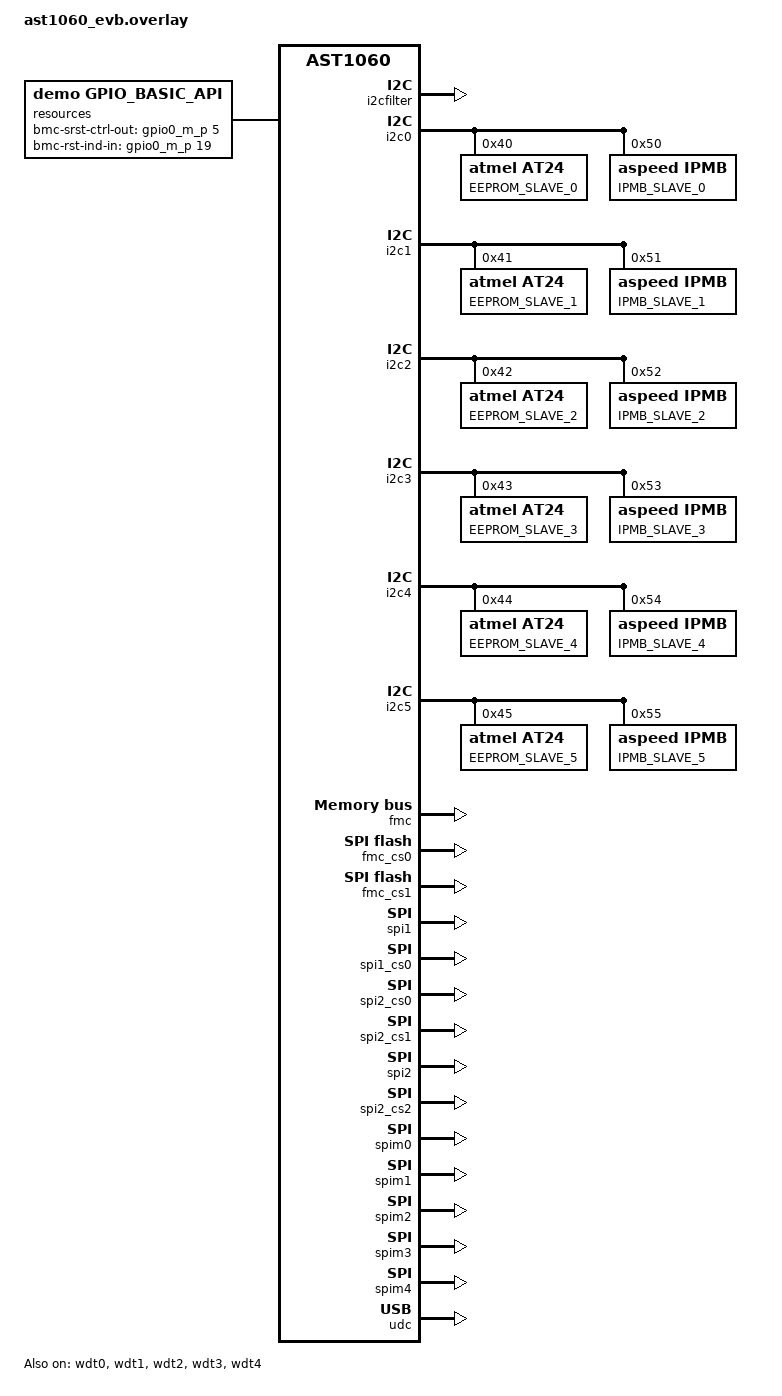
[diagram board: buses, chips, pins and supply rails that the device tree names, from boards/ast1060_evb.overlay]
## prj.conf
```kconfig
CONFIG_GPIO=y
CONFIG_SPI=y
CONFIG_I2C=y
CONFIG_THREAD_RUNTIME_STATS=y
CONFIG_GPIO_SHELL=y
CONFIG_I2C_SLAVE=y
CONFIG_I2C_EEPROM_SLAVE=y
CONFIG_FLASH=y
CONFIG_SPI_NOR_MULTI_DEV=y
CONFIG_FLASH_SHELL=y
CONFIG_HEAP_MEM_POOL_SIZE=16384
CONFIG_MINIMAL_LIBC_MALLOC_ARENA_SIZE=4096
CONFIG_REBOOT=y
CONFIG_POSIX_CLOCK=y
CONFIG_STACK_SENTINEL=y
CONFIG_LOG=y
CONFIG_SHELL=y
CONFIG_SHELL_BACKEND_SERIAL_INIT_PRIORITY=99
CONFIG_PFR_FLOW_CTRL_AST1060=y
CONFIG_CRYPTO=y
CONFIG_CRYPTO_ASPEED=y
CONFIG_RSA_ASPEED=y
CONFIG_ECDSA_ASPEED=y
CONFIG_MBEDTLS=y
CONFIG_MBEDTLS_KEY_EXCHANGE_ECDHE_ECDSA_ENABLED=y
CONFIG_MBEDTLS_ECP_DP_SECP384R1_ENABLED=y
CONFIG_MBEDTLS_ENABLE_HEAP=y
CONFIG_MBEDTLS_HEAP_SIZE=16384
CONFIG_SHELL_STACK_SIZE=4096
CONFIG_ENTROPY_GENERATOR=y
CONFIG_ENTROPY_ASPEED_TRNG=y
```

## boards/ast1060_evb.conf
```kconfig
CONFIG_GPIO_ASPEED=y
CONFIG_SPI_ASPEED=y
CONFIG_SPI_MONITOR_ASPEED=y
CONFIG_SPI_MONITOR_SHELL_ASPEED=y
CONFIG_SPI_NOR_ADDR_MODE_FALLBACK_DISABLED=y
CONFIG_PFR_SHELL_ASPEED=y
CONFIG_I2C_ASPEED=y
CONFIG_I2C_PFR=y
CONFIG_I2C_PFR_INIT_PRIORITY=60
CONFIG_I2C_PFR_FILTER=y
CONFIG_SHELL_ARGC_MAX=70
CONFIG_WATCHDOG=y
CONFIG_WDT_ASPEED=y
CONFIG_ABR_FLOW_CTRL_ASPEED=y
CONFIG_USB=y
CONFIG_USB_ASPEED=y
CONFIG_USB_DEVICE_VID=0x4153
CONFIG_USB_DEVICE_PID=0x1030
CONFIG_USB_DEVICE_DFU_PID=0x1030
CONFIG_USB_CDC_ACM=y
CONFIG_SHELL_CMDS_USB=y
CONFIG_USB_COMPOSITE_DEVICE=y
CONFIG_USB_DEVICE_PRODUCT="Zephyr DFU sample"
CONFIG_USB_DFU_CLASS=y
CONFIG_USB_REQUEST_BUFFER_SIZE=4096
CONFIG_USB_DFU_DEFAULT_POLLTIMEOUT=40
CONFIG_FLASH=y
CONFIG_IMG_MANAGER=y
CONFIG_FLASH_PAGE_LAYOUT=y
CONFIG_IMG_BLOCK_BUF_SIZE=4096
CONFIG_IMG_ERASE_PROGRESSIVELY=y
CONFIG_STREAM_FLASH_ERASE=y
CONFIG_OTP_ASPEED=y
CONFIG_SHELL_CMDS_OTP=y
CONFIG_SHELL_STACK_SIZE=10240
CONFIG_HASH_SHELL=y
CONFIG_CRYPTO_SHELL=y
CONFIG_RSA_SHELL=y
CONFIG_ECDSA_SHELL=y
CONFIG_MBEDTLS_MAC_SHA256_ENABLED=y
CONFIG_MBEDTLS_MAC_SHA512_ENABLED=y
```

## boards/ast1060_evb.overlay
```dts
/ {
	resources {
		compatible = "demo,gpio_basic_api";
		bmc-srst-ctrl-out-gpios = <&gpio0_m_p 5 0>; /* GPIOM5 */
		bmc-rst-ind-in-gpios = <&gpio0_m_p 19 0>; /* GPIO_O3 */
	};
};

&i2cfilter {
	pinctrl-0 = <&pinctrl_smbflt_default>;
	status = "okay";
};

&i2c0 {
	status = "okay";
	pinctrl-0 = <&pinctrl_i2c0_default>;

	eeprom0: eeprom0@40 {
		compatible = "atmel,at24";
		reg = <0x40>;
		label = "EEPROM_SLAVE_0";
		size = <256>;
		pagesize = <16>;
		address-width = <8>;
		timeout = <5>;
#ifdef CONFIG_I2C_EEPROM_SLAVE
		status = "okay";
#endif
	};

	ipmb0: ipmb0@50 {
		compatible = "aspeed,ipmb";
		reg = <0x50>;
		label = "IPMB_SLAVE_0";
		size = <5>;
#ifdef CONFIG_I2C_IPMB_SLAVE
		status = "okay";
#endif
	};

};

&i2c1 {
	pinctrl-0 = <&pinctrl_i2c1_default>;
	status = "okay";

	eeprom1: eeprom1@41 {
		compatible = "atmel,at24";
		reg = <0x41>;
		label = "EEPROM_SLAVE_1";
		size = <256>;
		pagesize = <16>;
		address-width = <8>;
		timeout = <5>;
#ifdef CONFIG_I2C_EEPROM_SLAVE
		status = "okay";
#endif
	};

	ipmb1: ipmb1@51 {
		compatible = "aspeed,ipmb";
		reg = <0x51>;
		label = "IPMB_SLAVE_1";
		size = <5>;
#ifdef CONFIG_I2C_IPMB_SLAVE
		status = "okay";
#endif
	};

};

&i2c2 {
	pinctrl-0 = <&pinctrl_i2c2_default>;
	status = "okay";

	eeprom2: eeprom2@42 {
		compatible = "atmel,at24";
		reg = <0x42>;
		label = "EEPROM_SLAVE_2";
		size = <256>;
		pagesize = <16>;
		address-width = <8>;
		timeout = <5>;
#ifdef CONFIG_I2C_EEPROM_SLAVE
		status = "okay";
#endif
	};

	ipmb2: ipmb2@52 {
		compatible = "aspeed,ipmb";
		reg = <0x52>;
		label = "IPMB_SLAVE_2";
		size = <5>;
#ifdef CONFIG_I2C_IPMB_SLAVE
		status = "okay";
#endif
	};

};

&i2c3 {
	pinctrl-0 = <&pinctrl_i2c3_default>;
	status = "okay";

	eeprom3: eeprom3@43 {
		compatible = "atmel,at24";
		reg = <0x43>;
		label = "EEPROM_SLAVE_3";
		size = <256>;
		pagesize = <16>;
		address-width = <8>;
		timeout = <5>;
#ifdef CONFIG_I2C_EEPROM_SLAVE
		status = "okay";
#endif
	};

	ipmb3: ipmb3@53 {
		compatible = "aspeed,ipmb";
		reg = <0x53>;
		label = "IPMB_SLAVE_3";
		size = <5>;
#ifdef CONFIG_I2C_IPMB_SLAVE
		status = "okay";
#endif
	};

};

&i2c4 {
	pinctrl-0 = <&pinctrl_i2c4_default>;
	status = "okay";

	eeprom4: eeprom4@44 {
		compatible = "atmel,at24";
		reg = <0x44>;
		label = "EEPROM_SLAVE_4";
		size = <256>;
		pagesize = <16>;
		address-width = <8>;
		timeout = <5>;
#ifdef CONFIG_I2C_EEPROM_SLAVE
		status = "okay";
#endif
	};

	ipmb4: ipmb4@54 {
		compatible = "aspeed,ipmb";
		reg = <0x54>;
		label = "IPMB_SLAVE_4";
		size = <5>;
#ifdef CONFIG_I2C_IPMB_SLAVE
		status = "okay";
#endif
	};

};

&i2c5 {
	pinctrl-0 = <&pinctrl_i2c5_default>;
	status = "okay";

	eeprom5: eeprom5@45 {
		compatible = "atmel,at24";
		reg = <0x45>;
		label = "EEPROM_SLAVE_5";
		size = <256>;
		pagesize = <16>;
		address-width = <8>;
		timeout = <5>;
#ifdef CONFIG_I2C_EEPROM_SLAVE
		status = "okay";
#endif
	};

	ipmb5: ipmb5@55 {
		compatible = "aspeed,ipmb";
		reg = <0x55>;
		label = "IPMB_SLAVE_5";
		size = <5>;
#ifdef CONFIG_I2C_IPMB_SLAVE
		status = "okay";
#endif
	};

};

&wdt0 {
	status = "okay";
};

&wdt1 {
	status = "okay";
};

&wdt2 {
	status = "okay";
};

&wdt3 {
	status = "okay";
};

&wdt4 {
	status = "okay";
};

&fmc {
	status = "okay";
};

&fmc_cs0 {
	status = "okay";
	spi-max-buswidth = <4>;
	spi-max-frequency = <50000000>;

	partitions {
		compatible = "fixed-partitions";
		#address-cells = <1>;
		#size-cells = <1>;
		boot_partition: partition@0 {
			label = "image-0";
			reg = <0x0 0x80000>;
		};
		dfu_partition: partition@1 {
		       label = "image-1";
		       reg = <0x80000 0x80000>;
	       };
	};
};

&fmc_cs1 {
	status = "okay";
	spi-max-buswidth = <4>;
	spi-max-frequency = <50000000>;
};

&spi1 {
	num-cs = <1>;
	status = "okay";
};

&spi1_cs0 {
	spi-max-buswidth = <4>;
	spi-max-frequency = <50000000>;
	status = "okay";
};

/* Use AST1060 SPI2 as the internal SPI master to
 * to access the SPI flashes connected to SPI monitors
 * Here,
 * "SPI2_CS0" used to access flash connected to SPI_Monitor_2,
 * "SPI2_CS1" is used to access flash connected to SPI_Monitor_3,
 * "SPI2_CS2" is used to access flash connected to SPI_Monitor_4,
 */

&spi2_cs0 {
	spi-max-buswidth = <4>;
	spi-max-frequency = <50000000>;
	status = "okay";
};

&spi2_cs1 {
	spi-max-buswidth = <4>;
	spi-max-frequency = <50000000>;
	status = "okay";
};

&spi2 {
	internal-mux-master = <2>;
	spi-monitor-output-base = <2>;
	spi-monitor-common-ctrl = <&spim0>;
	pinctrl-0 = <>;

	num-cs = <3>;
	status = "okay";
};

&spi2_cs2 {
	spi-max-buswidth = <4>;
	spi-max-frequency = <50000000>;
	status = "okay";
};

&spim0 {
	status = "okay";
};

&spim1 {
	allow-cmds = [03 13 0b 0c 6b 6c 01 05 35 06 04 20 21 9f 5a b7 e9 32 34 d8 dc 02 12 3b 3c 70 50];
	log-ram-size = <0x200>;
	pinctrl-0 = <&pinctrl_spim1_cs &pinctrl_spim1_in_default &pinctrl_spim1_qspi_in_default
				&pinctrl_spim1_rst_out &pinctrl_spim1_muxsel>;

	flash-device = <&spi1_cs0>;
	status = "okay";
};

&spim2 {
	allow-cmds = [03 13 0b 0c 6b 6c 01 05 35 06 04 20 21 9f 5a b7 e9 32 34 d8 dc 02 12 3b 3c 70 50];
	log-ram-size = <0x200>;
	pinctrl-0 = <&pinctrl_spim2_cs &pinctrl_spim2_in_default &pinctrl_spim2_out_default
				&pinctrl_spim2_qspi_in_default &pinctrl_spim2_qspi_out_default
				&pinctrl_spim2_rst_out>;

	flash-device = <&spi2_cs0>;
	status = "okay";
};

&spim3 {
	allow-cmds = [03 13 0b 0c 6b 6c 01 05 35 06 04 20 21 9f 5a b7 e9 32 34 d8 dc 02 12 3b 3c 70 50];
	log-ram-size = <0x200>;
	pinctrl-0 = <&pinctrl_spim3_cs &pinctrl_spim3_in_default &pinctrl_spim3_out_default
				&pinctrl_spim3_qspi_in_default &pinctrl_spim3_qspi_out_default
				&pinctrl_spim3_rst_out>;

	flash-device = <&spi2_cs1>;
	status = "okay";
};

&spim4 {
	allow-cmds = [03 13 0b 0c 6b 6c 01 05 35 06 04 20 21 9f 5a b7 e9 32 34 d8 dc 02 12 3b 3c 70 50];
	log-ram-size = <0x200>;
	/* for demo purpose */
	read-forbidden-regions = <
		0x00000000 0x10000
		0x00274000 0x4000
		0x01E00000 0x80000
	>;

	write-forbidden-regions = <
		0x00000000 0x10000
		0x013FC000 0x28000
		0x0FFF8000 0x8000
	>;

	pinctrl-0 = <&pinctrl_spim4_cs &pinctrl_spim4_in_default &pinctrl_spim4_out_default
				&pinctrl_spim4_qspi_in_default &pinctrl_spim4_qspi_out_default
				&pinctrl_spim4_rst_out>;

	flash-device = <&spi2_cs2>;
	status = "okay";
};

&udc {
	status = "okay";
};
```

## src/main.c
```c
/*
 * Copyright (c) 2021 ASPEED Technology Inc.
 *
 * SPDX-License-Identifier: Apache-2.0
 */

#include <zephyr.h>
#include <sys/printk.h>
#include <drivers/misc/aspeed/abr_aspeed.h>
#include <drivers/misc/aspeed/pfr_aspeed.h>
#include <soc.h>

extern struct k_work rst_work;

void demo_spim_irq_init(void);
void demo_wdt(void);
void ast1060_rst_demo_ext_mux(struct k_work *item);
void rst_gpio_event_register(void);
void ast1060_i2c_demo_flt(void);

void main(void)
{
	printk("%s demo\n", CONFIG_BOARD);
	aspeed_print_sysrst_info();
	disable_abr_wdt();

	/* reset BMC first */
	pfr_bmc_srst_enable_ctrl(true);

	demo_spim_irq_init();

	ast1060_rst_demo_ext_mux(NULL);

	rst_gpio_event_register();
	k_work_init(&rst_work, ast1060_rst_demo_ext_mux);

#if CONFIG_I2C_PFR_FILTER
	ast1060_i2c_demo_flt();
#endif
	/* the following demo part should be allocated
	 * at the final step of main function.
	 */
#if CONFIG_WDT_DEMO_ASPEED
	demo_wdt();
#endif
}
```

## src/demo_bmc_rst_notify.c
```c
/*
 * Copyright (c) 2021 ASPEED Technology Inc.
 *
 * SPDX-License-Identifier: Apache-2.0
 */

#include <zephyr.h>
#include <sys/printk.h>
#include <drivers/misc/aspeed/pfr_aspeed.h>
#include "demo_gpio.h"

static struct gpio_callback gpio_cb;
struct k_work rst_work;

static void gpioo3_callback(const struct device *dev,
		       struct gpio_callback *gpio_cb, uint32_t pins)
{
	/* reset BMC first */
	pfr_bmc_rst_enable_ctrl(true);

	k_work_submit(&rst_work);

	ARG_UNUSED(*gpio_cb);
	ARG_UNUSED(pins);
}

void rst_gpio_event_register(void)
{
	int ret;
	const struct device *gpio_dev = device_get_binding(BMC_RSTIND_GPIO_DEV_NAME);

	if (!gpio_dev) {
		printk("demo_err: cannot get device, %s.\n", gpio_dev->name);
		return;
	}

	ret = gpio_pin_interrupt_configure(gpio_dev, BMC_RSTIND_GPIO_PIN_IN,
					   GPIO_INT_DISABLE);
	if (ret != 0) {
		printk("demo_err: cannot configure GPIO INT(disabled).\n");
		return;
	}

	ret = gpio_pin_configure(gpio_dev, BMC_RSTIND_GPIO_PIN_IN, GPIO_INPUT);
	if (ret != 0) {
		printk("demo_err: cannot configure gpio device.\n");
		return;
	}

	gpio_init_callback(&gpio_cb, gpioo3_callback, BIT(BMC_RSTIND_GPIO_PIN_IN));
	ret = gpio_add_callback(gpio_dev, &gpio_cb);
	if (ret != 0) {
		printk("demo_err: cannot add gpio callback.\n");
		return;
	}

	ret = gpio_pin_interrupt_configure(gpio_dev, BMC_RSTIND_GPIO_PIN_IN,
					   GPIO_INT_EDGE_TO_INACTIVE);
	if (ret != 0) {
		printk("demo_err: cannot configure GPIO INT(1->0).\n");
		return;
	}
}
```

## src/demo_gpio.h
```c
/*
 * Copyright (c) 2021 ASPEED Technology Inc.
 *
 * SPDX-License-Identifier: Apache-2.0
 */

#ifndef __DEMO_GPIO_H__
#define __DEMO_GPIO_H__

#include <zephyr.h>
#include <drivers/gpio.h>
#include <sys/util.h>

#if DT_NODE_HAS_STATUS(DT_INST(0, demo_gpio_basic_api), okay)
#define BMC_RSTIND_GPIO_DEV_NAME \
			DT_GPIO_LABEL_BY_IDX(DT_INST(0, demo_gpio_basic_api), \
			bmc_rst_ind_in_gpios, 0)
#define BMC_RSTIND_GPIO_PIN_IN \
			DT_GPIO_PIN_BY_IDX(DT_INST(0, demo_gpio_basic_api), \
			bmc_rst_ind_in_gpios, 0)
#else
#error Unsupported board
#endif

#endif /* __DEMO_GPIO_H__ */
```

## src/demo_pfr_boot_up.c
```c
/*
 * Copyright (c) 2021 ASPEED Technology Inc.
 *
 * SPDX-License-Identifier: Apache-2.0
 */

#include <zephyr.h>
#include <sys/printk.h>
#include <drivers/misc/aspeed/pfr_aspeed.h>

int demo_spi_host_read(void);
void demo_rst_log_ptr(const struct device *dev);

void ast1060_rst_demo_ext_mux(struct k_work *item)
{
	int ret;
	const struct device *spim_dev1 = NULL;
	const struct device *spim_dev = NULL;
	uint32_t i;
	static char *spim_devs[3] = {
		"spi_m2",
		"spi_m3",
		"spi_m4"
	};

	spim_dev1 = device_get_binding("spi_m1");
	if (!spim_dev1) {
		printk("demo_err: cannot get device, spi_m1.\n");
		return;
	}

	spim_rst_flash(spim_dev1, 1000);

	/* config SPI1 CS0 as master */
	spim_passthrough_config(spim_dev1, 0, false);
	spim_ext_mux_config(spim_dev1, 0);

	/* disable passthrough mode for other SPI monitors */
	for (i = 0; i < 3; i++) {
		spim_dev = device_get_binding(spim_devs[i]);
		if (!spim_dev) {
			printk("demo_err: cannot get device, %s.\n", spim_devs[i]);
			return;
		}

		spim_passthrough_config(spim_dev, 0, false);
	}

	/* emulate PFR reads each flash content for verification purpose */
	ret = demo_spi_host_read();
	if (ret)
		return;

	aspeed_spi_monitor_sw_rst(spim_dev1);
	demo_rst_log_ptr(spim_dev1);

	/* config spim1 as SPI monitor */
	spim_ext_mux_config(spim_dev1, 1);

	/* set up passthrough mode for other SPI monitors */
	for (i = 0; i < 3; i++) {
		spim_dev = device_get_binding(spim_devs[i]);
		if (!spim_dev) {
			printk("demo_err: cannot get device, %s.\n", spim_devs[i]);
			return;
		}

		aspeed_spi_monitor_sw_rst(spim_dev);
		demo_rst_log_ptr(spim_dev);
		spim_passthrough_config(spim_dev, SPIM_SINGLE_PASSTHROUGH, true);
	}

	/*
	 * wait for 50ms after configuring external MUX
	 * in order to get overall stable system.
	 */
	k_busy_wait(50000);

	pfr_bmc_srst_enable_ctrl(false);
	ARG_UNUSED(item);
}
```

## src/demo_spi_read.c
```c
/*
 * Copyright (c) 2021 Aspeed Technology Inc.
 *
 * SPDX-License-Identifier: Apache-2.0
 */

#include <drivers/flash.h>
#include <drivers/spi_nor.h>
#include <kernel.h>
#include <sys/util.h>
#include <soc.h>
#include <stdlib.h>
#include <string.h>
#include <zephyr.h>

#define LOG_MODULE_NAME spim_read_demo

#include <logging/log.h>
LOG_MODULE_REGISTER(LOG_MODULE_NAME);

#define SPI_FLASH_TEST_SECTOR_SIZE 0x1000
#define SPI_FLASH_TEST_SIZE SPI_FLASH_TEST_SECTOR_SIZE
#define SPI_FLASH_TEST_ARR_SIZE 0x1100

static uint8_t test_arr[SPI_FLASH_TEST_ARR_SIZE] NON_CACHED_BSS_ALIGN16;
static uint8_t read_back_arr[SPI_FLASH_TEST_SIZE] NON_CACHED_BSS_ALIGN16;
static uint8_t op_arr[SPI_FLASH_TEST_SIZE] NON_CACHED_BSS_ALIGN16;

static char *flash_devices[6] = {
	"spi1_cs0",
	"spi2_cs0",
	"spi2_cs1",
	"spi2_cs2"
};

static void spi_flash_dump_buf(uint8_t *buf, uint32_t len)
{
	uint32_t i;

	for (i = 0; i < len; i++) {
		printk("%02x ", buf[i]);
		if (i % 16 == 15)
			printk("\n");
	}
	printk("\n");
}

static int do_erase_write_verify(const struct device *flash_device,
			uint32_t op_addr, uint8_t *write_buf, uint8_t *read_back_buf,
			uint32_t erase_sz)
{
	uint32_t ret = 0;

	ret = flash_erase(flash_device, op_addr, erase_sz);
	if (ret != 0) {
		LOG_ERR("[%s][%d] erase failed at %d.",
			__func__, __LINE__, op_addr);
		goto end;
	}

	ret = flash_write(flash_device, op_addr, write_buf, erase_sz);
	if (ret != 0) {
		LOG_ERR("[%s][%d] write failed at %d.",
			__func__, __LINE__, op_addr);
		goto end;
	}

	flash_read(flash_device, op_addr, read_back_buf, erase_sz);
	if (ret != 0) {
		LOG_ERR("[%s][%d] write failed at %d.",
			__func__, __LINE__, op_addr);
		goto end;
	}

	if (memcmp(write_buf, read_back_buf, erase_sz) != 0) {
		ret = -EINVAL;
		LOG_ERR("ERROR: %s %d fail to write flash at 0x%x",
				__func__, __LINE__, op_addr);
		printk("to be written:\n");
		spi_flash_dump_buf(write_buf, 256);

		printk("readback:\n");
		spi_flash_dump_buf(read_back_buf, 256);

		goto end;
	}

end:
	return ret;
}

static int do_update(const struct device *flash_device,
				off_t offset, uint8_t *buf, size_t len)
{
	int ret = 0;
	uint32_t flash_sz = flash_get_flash_size(flash_device);
	uint32_t sector_sz = flash_get_write_block_size(flash_device);
	uint32_t flash_offset = (uint32_t)offset;
	uint32_t remain, op_addr = 0, end_sector_addr;
	uint8_t *update_ptr = buf, *op_buf = NULL, *read_back_buf = NULL;
	bool update_it = false;

	LOG_INF("Udpating %s...", flash_device->name);

	if (flash_sz < flash_offset + len) {
		LOG_ERR("ERROR: update boundary exceeds flash size. (%d, %d, %d)",
			flash_sz, flash_offset, len);
		ret = -EINVAL;
		goto end;
	}

	op_buf = (uint8_t *)op_arr;
	read_back_buf = (uint8_t *)read_back_arr;

	/* initial op_addr */
	op_addr = (flash_offset / sector_sz) * sector_sz;

	/* handle the start part which is not multiple of sector size */
	if (flash_offset % sector_sz != 0) {
		ret = flash_read(flash_device, op_addr, op_buf, sector_sz);
		if (ret != 0)
			goto end;

		remain = MIN(sector_sz - (flash_offset % sector_sz), len);
		memcpy((uint8_t *)op_buf + (flash_offset % sector_sz), update_ptr, remain);
		ret = do_erase_write_verify(flash_device, op_addr, op_buf,
								read_back_buf, sector_sz);
		if (ret != 0)
			goto end;

		op_addr += sector_sz;
		update_ptr += remain;
	}

	end_sector_addr = (flash_offset + len) / sector_sz * sector_sz;
	/* handle body */
	for (; op_addr < end_sector_addr;) {
		ret = flash_read(flash_device, op_addr, op_buf, sector_sz);
		if (ret != 0)
			goto end;

		if (memcmp(op_buf, update_ptr, sector_sz) != 0)
			update_it = true;

		if (update_it) {
			ret = do_erase_write_verify(flash_device, op_addr, update_ptr,
								read_back_buf, sector_sz);
			if (ret != 0)
				goto end;
		}

		op_addr += sector_sz;
		update_ptr += sector_sz;
	}

	/* handle remain part */
	if (end_sector_addr < flash_offset + len) {

		ret = flash_read(flash_device, op_addr, op_buf, sector_sz);
		if (ret != 0)
			goto end;

		remain = flash_offset + len - end_sector_addr;
		memcpy((uint8_t *)op_buf, update_ptr, remain);

		ret = do_erase_write_verify(flash_device, op_addr, op_buf,
								read_back_buf, sector_sz);
		if (ret != 0)
			goto end;

		op_addr += remain;
	}

end:
	LOG_INF("Update %s.", ret ? "FAILED" : "done");
	return ret;
}

int demo_spi_host_read(void)
{
	int ret = 0;
	const struct device *flash_dev;
	uint8_t *op_buf = NULL;
	uint32_t i;

	op_buf = (uint8_t *)op_arr;

	for (i = 0; i < SPI_FLASH_TEST_ARR_SIZE; i++)
		test_arr[i] = 'a' + (i % 26);

	/* Don't modify flash of spi1_cs0
	 * since it is FMC_CS0 flash of the host.
	 */
	for (i = 1; i < 4; i++) {
		flash_dev = device_get_binding(flash_devices[i]);
		if (!flash_dev) {
			LOG_ERR("No device named %s.", flash_devices[i]);
			return -ENOEXEC;
		}

		ret = flash_read(flash_dev, 0x0, op_buf, SPI_FLASH_TEST_SIZE);
		if (ret) {
			LOG_ERR("fail to read flash %s", flash_devices[i]);
			goto end;
		}

		if (memcmp(op_buf, test_arr + (i * 4), SPI_FLASH_TEST_SIZE) != 0) {
			ret = do_update(flash_dev, 0x0,
					test_arr + (i * 4), SPI_FLASH_TEST_SIZE);
			if (ret != 0) {
				LOG_ERR("fail to update flash %s", flash_devices[i]);
				goto end;
			}
		}
	}

	for (i = 0; i < 4; i++) {
		flash_dev = device_get_binding(flash_devices[i]);
		if (!flash_dev) {
			LOG_ERR("No device named %s.", flash_devices[i]);
			return -ENOEXEC;
		}

		ret = flash_read(flash_dev, 0x0, op_buf, SPI_FLASH_TEST_SIZE);
		if (ret) {
			LOG_ERR("fail to read flash %s", flash_devices[i]);
			goto end;
		}

		printk("[%s]read result:\n", flash_devices[i]);
		spi_flash_dump_buf(op_buf, 4);
		spi_flash_dump_buf(op_buf + SPI_FLASH_TEST_SIZE - 4, 4);

		ret = spi_nor_config_4byte_mode(flash_dev, false);
		if (ret)
			goto end;
	}

	k_busy_wait(20000); /* 20ms */

end:

	return ret;
}
```

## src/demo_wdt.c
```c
/*
 * Copyright (c) 2021 Aspeed Technology Inc.
 *
 * SPDX-License-Identifier: Apache-2.0
 */

#include <zephyr.h>
#include <zephyr/types.h>
#include <sys/printk.h>
#include <drivers/misc/aspeed/pfr_aspeed.h>
#include <sys/sys_io.h>
#include <sys/__assert.h>
#include <sys/util.h>
#include <errno.h>
#include <drivers/watchdog.h>
#include <soc.h>

#if CONFIG_WDT_DEMO_ASPEED
static void demo_wdt_callback(const struct device *dev, int channel_id)
{
	printk("[%s] timeout triggered.\n", dev->name);
}

void demo_wdt(void)
{
	struct wdt_timeout_cfg wdt_config;
	const struct device *wdt3_dev;
	const struct device *wdt4_dev;
	int ret;
	uint32_t count = 0;

	printk("wdt demo started.\n");

	wdt3_dev = device_get_binding("wdt3");
	if (!wdt3_dev) {
		printk("demo_err: cannot find wdt3 device.\n");
		return;
	}

	wdt4_dev = device_get_binding("wdt4");
	if (!wdt3_dev) {
		printk("demo_err: cannot find wdt4 device.\n");
		return;
	}

	wdt_config.window.min = 0U;
	wdt_config.window.max = 1000; /* 1 s */
	wdt_config.callback = demo_wdt_callback;
	ret = wdt_install_timeout(wdt3_dev, &wdt_config);
	if (ret != 0) {
		printk("demo_err: fail to install wdt3 timeout.\n");
		return;
	}

	wdt_config.window.min = 0U;
	wdt_config.window.max = 3000; /* 3s */
	wdt_config.callback = NULL;
	ret = wdt_install_timeout(wdt4_dev, &wdt_config);
	if (ret != 0) {
		printk("demo_err: fail to install wdt4 timeout.\n");
		return;
	}

	ret = wdt_setup(wdt3_dev, WDT_FLAG_RESET_NONE);
	if (ret != 0) {
		printk("demo_err: fail to setup wdt3.\n");
		return;
	}

	ret = wdt_setup(wdt4_dev, WDT_FLAG_RESET_CPU_CORE);
	if (ret != 0) {
		printk("demo_err: fail to setup wdt4.\n");
		return;
	}

	while (1) {
		if (count == 10) {
			printk("wdt_demo getting stuck...\n");
			k_sleep(K_FOREVER);
		}

		printk("wdt_demo ... %d\n", count);

		wdt_feed(wdt3_dev, 0);
		wdt_feed(wdt4_dev, 0);
		if (count < 5)
			k_sleep(K_MSEC(500));
		else
			k_sleep(K_MSEC(2000));

		count++;
	}
}
#endif

static void demo_wdt_background_thread(void)
{
	int ret = 0;
	const struct device *wdt2_dev = NULL;
	struct wdt_timeout_cfg wdt_config;

	wdt2_dev = device_get_binding("wdt2");
	if (!wdt2_dev) {
		printk("demo_err: cannot find wdt2 device.\n");
		return;
	}

	wdt_config.window.min = 0U;
	wdt_config.window.max = 5000; /* 5s */
	wdt_config.callback = NULL;
	ret = wdt_install_timeout(wdt2_dev, &wdt_config);
	if (ret != 0) {
		printk("demo_err: fail to install wdt2 timeout.\n");
		return;
	}

	ret = wdt_setup(wdt2_dev, WDT_FLAG_RESET_CPU_CORE);
	if (ret != 0) {
		printk("demo_err: fail to setup wdt2.\n");
		return;
	}

	while (1) {
#if CONFIG_WDT_DEMO_ASPEED
		printk("wdt_demo thread still alive...\n");
#endif
		wdt_feed(wdt2_dev, 0);
		k_sleep(K_MSEC(3000));
	}
}

K_THREAD_DEFINE(wdt_background, 1024, demo_wdt_background_thread,
	NULL, NULL, NULL, -1, 0, 1000);
```

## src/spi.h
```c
/*
 * Copyright (c) 2021 Aspeed Technology Inc.
 *
 * SPDX-License-Identifier: Apache-2.0
 */

#ifndef ZEPHYR_INCLUDE_DRIVERS_SPI_HOST_TEST_H_
#define ZEPHYR_INCLUDE_DRIVERS_SPI_HOST_TEST_H_

#include <kernel.h>
#include <sys/util.h>
#include <zephyr.h>

int test_spi_host_read(void);

#endif
```

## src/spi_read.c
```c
/*
 * Copyright (c) 2021 Aspeed Technology Inc.
 *
 * SPDX-License-Identifier: Apache-2.0
 */

#include <drivers/flash.h>
#include <drivers/spi_nor.h>
#include <kernel.h>
#include <sys/util.h>
#include <stdlib.h>
#include <string.h>
#include <zephyr.h>

#define LOG_MODULE_NAME spim_read_demo

#include <logging/log.h>
LOG_MODULE_REGISTER(LOG_MODULE_NAME);

#define SPIM_TEST_SIZE 0x1000
#define SPIM_TEST_ARR_SIZE 0x1100

static uint8_t __aligned(4) test_arr[SPIM_TEST_ARR_SIZE];

static char *flash_devices[6] = {
	"spi1_cs0",
	"spi2_cs0",
	"spi2_cs1",
	"spi2_cs2"
};

static void spim_dump_buf(uint8_t *buf, uint32_t len)
{
	uint32_t i;

	for (i = 0; i < len; i++) {
		printk("%02x ", buf[i]);
		if (i % 16 == 15)
			printk("\n");
	}
	printk("\n");
}

static int do_erase_write_verify(const struct device *flash_device,
			uint32_t op_addr, uint8_t *write_buf, uint8_t *read_back_buf,
			uint32_t erase_sz)
{
	uint32_t ret = 0;

	ret = flash_erase(flash_device, op_addr, erase_sz);
	if (ret != 0) {
		LOG_ERR("[%s][%d] erase failed at %d.",
			__func__, __LINE__, op_addr);
		goto end;
	}

	ret = flash_write(flash_device, op_addr, write_buf, erase_sz);
	if (ret != 0) {
		LOG_ERR("[%s][%d] write failed at %d.",
			__func__, __LINE__, op_addr);
		goto end;
	}

	flash_read(flash_device, op_addr, read_back_buf, erase_sz);
	if (ret != 0) {
		LOG_ERR("[%s][%d] write failed at %d.",
			__func__, __LINE__, op_addr);
		goto end;
	}

	if (memcmp(write_buf, read_back_buf, erase_sz) != 0) {
		ret = -EINVAL;
		LOG_ERR("ERROR: %s %d fail to write flash at 0x%x",
				__func__, __LINE__, op_addr);
		printk("to be written:\n");
		spim_dump_buf(write_buf, 256);

		printk("readback:\n");
		spim_dump_buf(read_back_buf, 256);

		goto end;
	}

end:
	return ret;
}

static int do_update(const struct device *flash_device,
				off_t offset, uint8_t *buf, size_t len)
{
	int ret = 0;
	uint32_t flash_sz = flash_get_flash_size(flash_device);
	uint32_t sector_sz = flash_get_write_block_size(flash_device);
	uint32_t flash_offset = (uint32_t)offset;
	uint32_t remain, op_addr = 0, end_sector_addr;
	uint8_t *update_ptr = buf, *op_buf = NULL, *read_back_buf = NULL;
	bool update_it = false;

	LOG_INF("Udpating %s...", flash_device->name);

	if (flash_sz < flash_offset + len) {
		LOG_ERR("ERROR: update boundary exceeds flash size. (%d, %d, %d)",
			flash_sz, flash_offset, len);
		ret = -EINVAL;
		goto end;
	}

	op_buf = (uint8_t *)malloc(sector_sz);
	if (op_buf == NULL) {
		LOG_ERR("heap full %d %d", __LINE__, sector_sz);
		ret = -EINVAL;
		goto end;
	}

	read_back_buf = (uint8_t *)malloc(sector_sz);
	if (read_back_buf == NULL) {
		LOG_ERR("heap full %d %d", __LINE__, sector_sz);
		ret = -EINVAL;
		goto end;
	}

	/* initial op_addr */
	op_addr = (flash_offset / sector_sz) * sector_sz;

	/* handle the start part which is not multiple of sector size */
	if (flash_offset % sector_sz != 0) {
		ret = flash_read(flash_device, op_addr, op_buf, sector_sz);
		if (ret != 0)
			goto end;

		remain = MIN(sector_sz - (flash_offset % sector_sz), len);
		memcpy((uint8_t *)op_buf + (flash_offset % sector_sz), update_ptr, remain);
		ret = do_erase_write_verify(flash_device, op_addr, op_buf,
								read_back_buf, sector_sz);
		if (ret != 0)
			goto end;

		op_addr += sector_sz;
		update_ptr += remain;
	}

	end_sector_addr = (flash_offset + len) / sector_sz * sector_sz;
	/* handle body */
	for (; op_addr < end_sector_addr;) {
		ret = flash_read(flash_device, op_addr, op_buf, sector_sz);
		if (ret != 0)
			goto end;

		if (memcmp(op_buf, update_ptr, sector_sz) != 0)
			update_it = true;

		if (update_it) {
			ret = do_erase_write_verify(flash_device, op_addr, update_ptr,
								read_back_buf, sector_sz);
			if (ret != 0)
				goto end;
		}

		op_addr += sector_sz;
		update_ptr += sector_sz;
	}

	/* handle remain part */
	if (end_sector_addr < flash_offset + len) {

		ret = flash_read(flash_device, op_addr, op_buf, sector_sz);
		if (ret != 0)
			goto end;

		remain = flash_offset + len - end_sector_addr;
		memcpy((uint8_t *)op_buf, update_ptr, remain);

		ret = do_erase_write_verify(flash_device, op_addr, op_buf,
								read_back_buf, sector_sz);
		if (ret != 0)
			goto end;

		op_addr += remain;
	}

end:
	LOG_INF("Update %s.", ret ? "FAILED" : "done");

	if (op_buf != NULL)
		free(op_buf);
	if (read_back_buf != NULL)
		free(read_back_buf);

	return ret;
}

int test_spi_host_read(void)
{
	int ret = 0;
	const struct device *flash_dev;
	uint8_t *op_buf = NULL;
	uint32_t i;

	op_buf = (uint8_t *)malloc(SPIM_TEST_SIZE);
	if (op_buf == NULL) {
		LOG_ERR("heap full %d %d", __LINE__, SPIM_TEST_SIZE);
		ret = -EINVAL;
		goto end;
	}

	for (i = 0; i < SPIM_TEST_ARR_SIZE; i++)
		test_arr[i] = 'a' + (i % 26);

	/* Don't modify flash of spi1_cs0
	 * since it is FMC_CS0 flash of the host.
	 */
	for (i = 1; i < 4; i++) {
		flash_dev = device_get_binding(flash_devices[i]);
		if (!flash_dev) {
			LOG_ERR("No device named %s.", flash_devices[i]);
			return -ENOEXEC;
		}

		ret = flash_read(flash_dev, 0x0, op_buf, SPIM_TEST_SIZE);
		if (ret) {
			LOG_ERR("fail to read flash %s", flash_devices[i]);
			goto end;
		}

		if (memcmp(op_buf, test_arr + (i * 4), SPIM_TEST_SIZE) != 0) {
			ret = do_update(flash_dev, 0x0,
					test_arr + (i * 4), SPIM_TEST_SIZE);
			if (ret != 0) {
				LOG_ERR("fail to update flash %s", flash_devices[i]);
				goto end;
			}
		}
	}

	for (i = 0; i < 4; i++) {
		flash_dev = device_get_binding(flash_devices[i]);
		if (!flash_dev) {
			LOG_ERR("No device named %s.", flash_devices[i]);
			return -ENOEXEC;
		}

		ret = flash_read(flash_dev, 0x0, op_buf, SPIM_TEST_SIZE);
		if (ret) {
			LOG_ERR("fail to read flash %s", flash_devices[i]);
			goto end;
		}

		printk("[%s]read result:\n", flash_devices[i]);
		spim_dump_buf(op_buf, 4);
		spim_dump_buf(op_buf + SPIM_TEST_SIZE - 4, 4);

		ret = spi_nor_config_4byte_mode(flash_dev, false);
		if (ret)
			goto end;
	}

	k_busy_wait(20000); /* 20ms */

end:

	free(op_buf);
	return ret;
}
```
